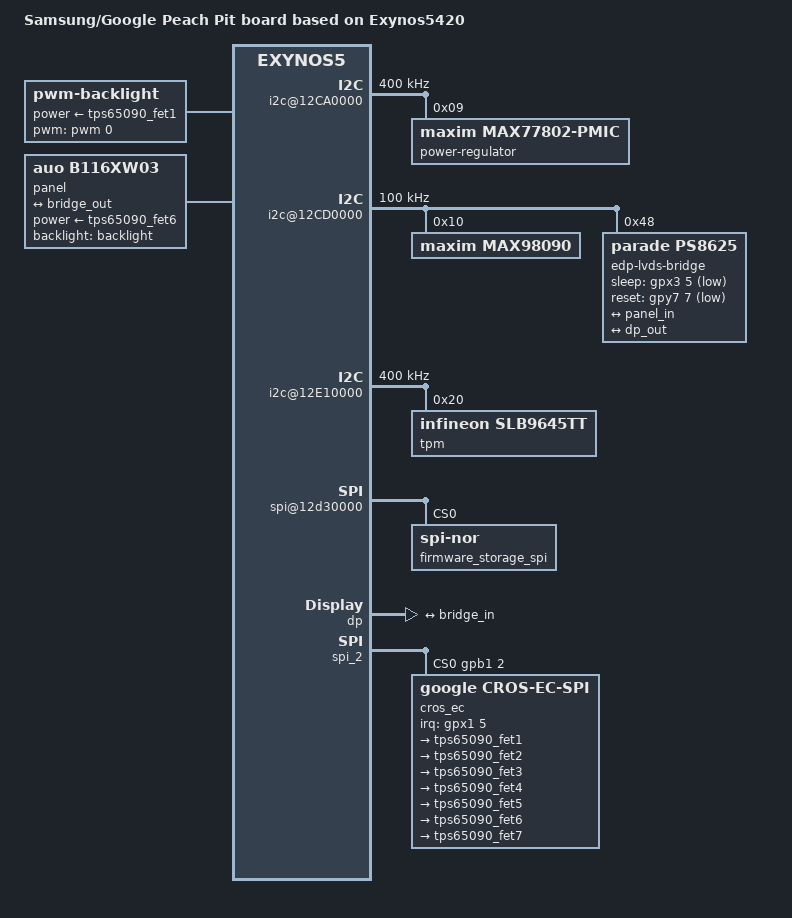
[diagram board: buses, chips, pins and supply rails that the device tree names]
// SPDX-License-Identifier: GPL-2.0+
/*
 * SAMSUNG/GOOGLE Peach-Pit board device tree source
 *
 * Copyright (c) 2013 Samsung Electronics Co., Ltd.
 *		http://www.samsung.com
 */

/dts-v1/;
#include "exynos54xx.dtsi"
#include <dt-bindings/clock/maxim,max77802.h>
#include <dt-bindings/regulator/maxim,max77802.h>

/ {
	model = "Samsung/Google Peach Pit board based on Exynos5420";

	compatible = "google,pit-rev#", "google,pit",
		"google,peach", "samsung,exynos5420", "samsung,exynos5";

	config {
		google,bad-wake-gpios = <&gpx0 6 GPIO_ACTIVE_HIGH>;
		hwid = "PIT TEST A-A 7848";
		lazy-init = <1>;
	};

	aliases {
		serial0 = "/serial@12C30000";
		console = "/serial@12C30000";
		pmic = "/i2c@12CA0000";
		i2c104 = &i2c_tunnel;
	};

	backlight: backlight {
		compatible = "pwm-backlight";
		pwms = <&pwm 0 1000000 0>;
		brightness-levels = <0 100 500 1000 1500 2000 2500 2800>;
		default-brightness-level = <7>;
		power-supply = <&tps65090_fet1>;
	};

	dmc {
		mem-manuf = "samsung";
		mem-type = "ddr3";
		clock-frequency = <800000000>;
		arm-frequency = <900000000>;
	};

	tmu@10060000 {
		samsung,min-temp	= <25>;
		samsung,max-temp	= <125>;
		samsung,start-warning	= <95>;
		samsung,start-tripping	= <105>;
		samsung,hw-tripping	= <110>;
		samsung,efuse-min-value	= <40>;
		samsung,efuse-value	= <55>;
		samsung,efuse-max-value	= <100>;
		samsung,slope		= <274761730>;
		samsung,dc-value	= <25>;
	};

	/* MAX77802 is on i2c bus 4 */
	i2c@12CA0000 {
		clock-frequency = <400000>;
		power-regulator@9 {
			compatible = "maxim,max77802-pmic";
			reg = <0x9>;
		};
	};

	sound {
		compatible = "google,peach-audio-max98090";

		samsung,model = "PEACH-I2S-MAX98090";
		samsung,audio-codec = <&max98090>;

		cpu {
			sound-dai = <&i2s0 0>;
		};

		codec {
			sound-dai = <&max98090 0>;
		};
	};

	i2c@12CD0000 { /* i2c7 */
		clock-frequency = <100000>;
		max98090: soundcodec@10 {
			reg = <0x10>;
			compatible = "maxim,max98090";
			#sound-dai-cells = <1>;
		};

		edp-lvds-bridge@48 {
			compatible = "parade,ps8625";
			reg = <0x48>;
			sleep-gpios = <&gpx3 5 GPIO_ACTIVE_LOW>;
			reset-gpios = <&gpy7 7 GPIO_ACTIVE_LOW>;
			parade,regs = /bits/ 8 <
				0x02 0xa1 0x01  /* HPD low */
				/*
				* SW setting
				* [1:0] SW output 1.2V voltage is lower to 96%
				*/
				0x04 0x14 0x01
				/*
				* RCO SS setting
				* [5:4] = b01 0.5%, b10 1%, b11 1.5%
				*/
				0x04 0xe3 0x20
				0x04 0xe2 0x80 /* [7] RCO SS enable */
				/*
				*  RPHY Setting
				* [3:2] CDR tune wait cycle before
				* measure for fine tune b00: 1us,
				* 01: 0.5us, 10:2us, 11:4us.
				*/
				0x04 0x8a 0x0c
				0x04 0x89 0x08 /* [3] RFD always on */
				/*
				* CTN lock in/out:
				* 20000ppm/80000ppm. Lock out 2
				* times.
				*/
				0x04 0x71 0x2d
				/*
				* 2.7G CDR settings
				* NOF=40LSB for HBR CDR setting
				*/
				0x04 0x7d 0x07
				0x04 0x7b 0x00  /* [1:0] Fmin=+4bands */
				0x04 0x7a 0xfd  /* [7:5] DCO_FTRNG=+-40% */
				/*
				* 1.62G CDR settings
				* [5:2]NOF=64LSB [1:0]DCO scale is 2/5
				*/
				0x04 0xc0 0x12
				0x04 0xc1 0x92  /* Gitune=-37% */
				0x04 0xc2 0x1c  /* Fbstep=100% */
				0x04 0x32 0x80  /* [7]LOS signal disable */
				/*
				* RPIO Setting
				* [7:4] LVDS driver bias current :
				* 75% (250mV swing)
				*/
				0x04 0x00 0xb0
				/*
				* [7:6] Right-bar GPIO output strength is 8mA
				*/
				0x04 0x15 0x40
				/* EQ Training State Machine Setting */
				0x04 0x54 0x10  /* RCO calibration start */
				/* [4:0] MAX_LANE_COUNT set to one lane */
				0x01 0x02 0x81
				/* [4:0] LANE_COUNT_SET set to one lane */
				0x01 0x21 0x81
				0x00 0x52 0x20
				0x00 0xf1 0x03  /* HPD CP toggle enable */
				0x00 0x62 0x41
				/* Counter number add 1ms counter delay */
				0x00 0xf6 0x01
				/*
				* [6]PWM function control by
				* DPCD0040f[7], default is PWM
				* block always works.
				*/
				0x00 0x77 0x06
				/*
				* 04h Adjust VTotal tolerance to
				* fix the 30Hz no display issue
				*/
				0x00 0x4c 0x04
				/* DPCD00400='h00, Parade OUI = 'h001cf8 */
				0x01 0xc0 0x00
				0x01 0xc1 0x1c  /* DPCD00401='h1c */
				0x01 0xc2 0xf8  /* DPCD00402='hf8 */
				/*
				* DPCD403~408 = ASCII code
				* D2SLV5='h4432534c5635
				*/
				0x01 0xc3 0x44
				0x01 0xc4 0x32  /* DPCD404 */
				0x01 0xc5 0x53  /* DPCD405 */
				0x01 0xc6 0x4c  /* DPCD406 */
				0x01 0xc7 0x56  /* DPCD407 */
				0x01 0xc8 0x35  /* DPCD408 */
				/*
				* DPCD40A, Initial Code major  revision
				* '01'
				*/
				0x01 0xca 0x01
				/* DPCD40B Initial Code minor revision '05' */
				0x01 0xcb 0x05
				/* DPCD720 Select internal PWM */
				0x01 0xa5 0xa0
				/*
				* FFh for 100% PWM of brightness, 0h for 0%
				* brightness
				*/
				0x01 0xa7 0xff
				/*
				* Set LVDS output as 6bit-VESA mapping,
				* single LVDS channel
				*/
				0x01 0xcc 0x13
				/* Enable SSC set by register */
				0x02 0xb1 0x20
				/*
				* Set SSC enabled and +/-1% central
				* spreading
				*/
				0x04 0x10 0x16
				/* MPU Clock source: LC => RCO */
				0x04 0x59 0x60
				0x04 0x54 0x14  /* LC -> RCO */
				0x02 0xa1 0x91>;  /* HPD high */

			ports {
				port@0 {
					bridge_out: endpoint {
						remote-endpoint = <&panel_in>;
					};
				};

				port@1 {
					bridge_in: endpoint {
						remote-endpoint = <&dp_out>;
					};
				};
			};
	        };
	};

        sound@3830000 {
                samsung,codec-type = "max98090";
        };

	i2c@12E10000 { /* i2c9 */
		clock-frequency = <400000>;
		tpm@20 {
			compatible = "infineon,slb9645tt";
			reg = <0x20>;
		};
	};

	panel: panel {
		compatible = "auo,b116xw03";
		power-supply = <&tps65090_fet6>;
		backlight = <&backlight>;

		port {
			panel_in: endpoint {
				remote-endpoint = <&bridge_out>;
			};
		};
	};

	spi@12d30000 { /* spi1 */
		spi-max-frequency = <50000000>;
		firmware_storage_spi: flash@0 {
			compatible = "jedec,spi-nor";
			reg = <0>;

			/*
			 * A region for the kernel to store a panic event
			 * which the firmware will add to the log.
			*/
			elog-panic-event-offset = <0x01e00000 0x100000>;

			elog-shrink-size = <0x400>;
			elog-full-threshold = <0xc00>;
		};
	};

	xhci@12000000 {
		samsung,vbus-gpio = <&gph0 0 GPIO_ACTIVE_HIGH>;
	};

	xhci@12400000 {
		samsung,vbus-gpio = <&gph0 1 GPIO_ACTIVE_HIGH>;
	};

	fimd@14400000 {
		samsung,vl-freq = <60>;
		samsung,vl-col = <1366>;
		samsung,vl-row = <768>;
		samsung,vl-width = <1366>;
		samsung,vl-height = <768>;

		samsung,vl-clkp;
		samsung,vl-dp;
		samsung,vl-bpix = <4>;

		samsung,vl-hspw = <32>;
		samsung,vl-hbpd = <40>;
		samsung,vl-hfpd = <40>;
		samsung,vl-vspw = <6>;
		samsung,vl-vbpd = <10>;
		samsung,vl-vfpd = <12>;
		samsung,vl-cmd-allow-len = <0xf>;

		samsung,winid = <3>;
		samsung,interface-mode = <1>;
		samsung,dp-enabled = <1>;
		samsung,dual-lcd-enabled = <0>;
	};
};

&dp {
	status = "okay";
	samsung,color-space = <0>;
	samsung,dynamic-range = <0>;
	samsung,ycbcr-coeff = <0>;
	samsung,color-depth = <1>;
	samsung,link-rate = <0x06>;
	samsung,lane-count = <2>;
	samsung,hpd-gpio = <&gpx2 6 GPIO_ACTIVE_HIGH>;

	ports {
		port@0 {
			dp_out: endpoint {
				remote-endpoint = <&bridge_in>;
			};
		};
	};
};

&spi_2 {
	spi-max-frequency = <3125000>;
	spi-deactivate-delay = <200>;
	status = "okay";
	num-cs = <1>;
	samsung,spi-src-clk = <0>;
	cs-gpios = <&gpb1 2 0>;

	cros_ec: cros-ec@0 {
		compatible = "google,cros-ec-spi";
		interrupt-parent = <&gpx1>;
		interrupts = <5 0>;
		reg = <0>;
		spi-half-duplex;
		spi-max-timeout-ms = <1100>;
		ec-interrupt = <&gpx1 5 GPIO_ACTIVE_LOW>;
		#address-cells = <1>;
		#size-cells = <1>;

		/*
		 * This describes the flash memory within the EC. Note
		 * that the STM32L flash erases to 0, not 0xff.
		 */
		flash@8000000 {
			reg = <0x08000000 0x20000>;
			erase-value = <0>;
		};

		controller-data {
			samsung,spi-feedback-delay = <1>;
		};

		i2c_tunnel: i2c-tunnel {
			compatible = "google,cros-ec-i2c-tunnel";
			#address-cells = <1>;
			#size-cells = <0>;
			google,remote-bus = <0>;

			battery: sbs-battery@b {
				compatible = "sbs,sbs-battery";
				reg = <0xb>;
				sbs,poll-retry-count = <1>;
				sbs,i2c-retry-count = <2>;
			};

			power-regulator@48 {
				compatible = "ti,tps65090";
				reg = <0x48>;

				regulators {
					tps65090_dcdc1: dcdc1 {
						ti,enable-ext-control;
					};
					tps65090_dcdc2: dcdc2 {
						ti,enable-ext-control;
					};
					tps65090_dcdc3: dcdc3 {
						ti,enable-ext-control;
					};
					tps65090_fet1: fet1 {
						regulator-name = "vcd_led";
					};
					tps65090_fet2: fet2 {
						regulator-name = "video_mid";
						regulator-always-on;
					};
					tps65090_fet3: fet3 {
						regulator-name = "wwan_r";
						regulator-always-on;
					};
					tps65090_fet4: fet4 {
						regulator-name = "sdcard";
						regulator-always-on;
					};
					tps65090_fet5: fet5 {
						regulator-name = "camout";
						regulator-always-on;
					};
					tps65090_fet6: fet6 {
						regulator-name = "lcd_vdd";
					};
					tps65090_fet7: fet7 {
						regulator-name = "video_mid_1a";
						regulator-always-on;
					};
					tps65090_ldo1: ldo1 {
					};
					tps65090_ldo2: ldo2 {
					};
				};

				charger {
					compatible = "ti,tps65090-charger";
				};
			};
		};
	};
};

#include "cros-ec-keyboard.dtsi"
